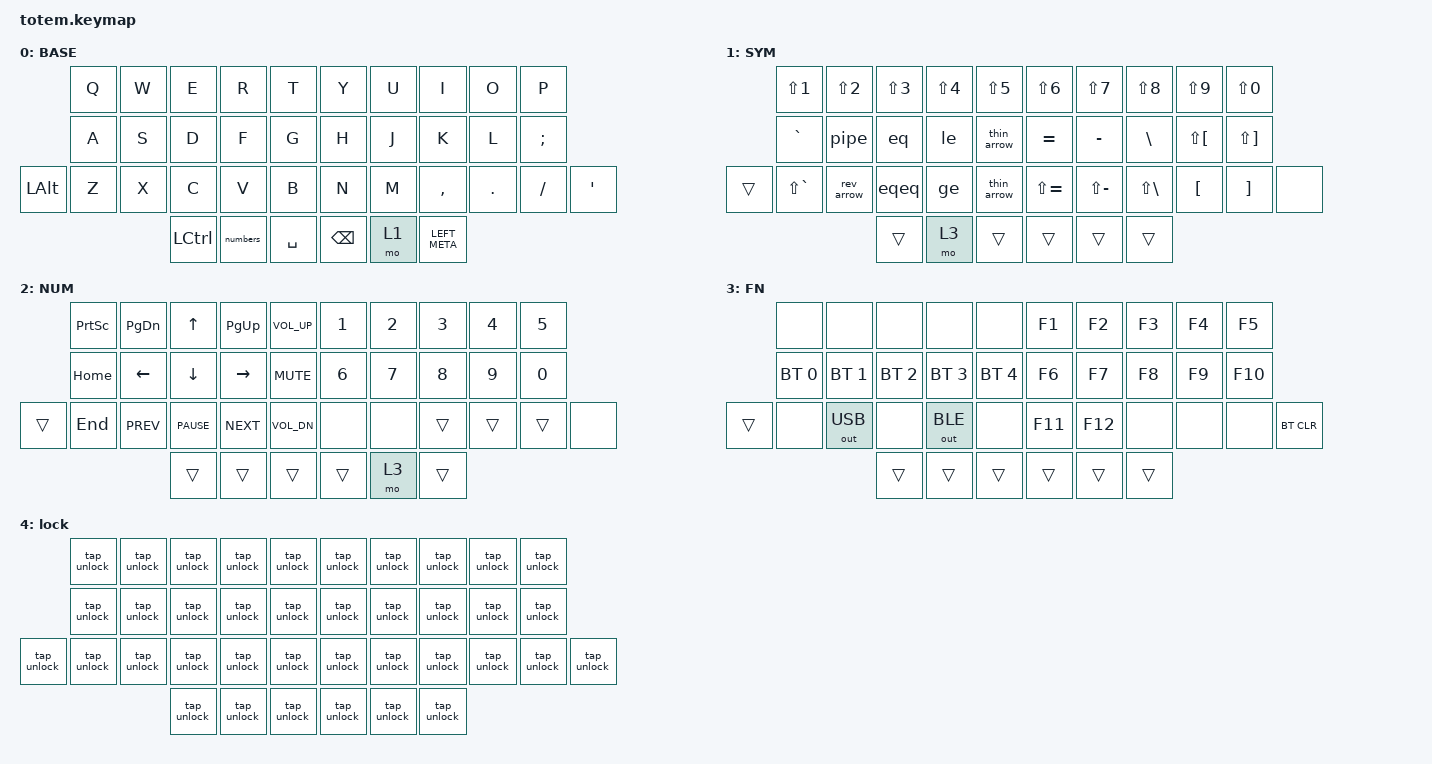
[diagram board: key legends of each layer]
//
//                                                        ▀▀▀▀▀     ▀▀▀▀▀          ▀▀█▀▀
//                                                        ▄▀▀▀▄  ▄  ▄▀▀▀▄  ▄  ▄▀▀▀▄  █  ▄▀▀▀▄
//                                                        █   █  █  █   █  █  █   █  █  █   █
//                                                         ▀▀▀   █   ▀▀▀   █   ▀▀▀   ▀   ▀▀▀
//                                                               █      ▄▄▄█▄▄▄    █   █  
//                                                               ▀      █  █  █     █▄█
//                                                             ▀▀▀▀▀    █  █  █      ▀
//                                                                      ▀  ▀  ▀
//
// ▄▄▄▄▄▄▄▄▄▄▄▄▄▄▄▄▄▄▄▄▄▄▄▄▄▄▄▄▄▄▄▄▄▄▄▄▄▄▄▄▄▄▄▄▄▄▄▄▄▄▄▄▄▄▄▄▄▄▄▄▄▄▄▄▄▄▄▄▄▄▄▄▄▄▄▄▄▄▄▄▄▄▄▄▄▄▄▄▄▄▄▄▄▄▄▄▄▄▄▄▄▄▄▄▄▄▄▄▄▄▄▄▄▄▄▄▄▄▄▄▄▄▄▄▄▄▄▄▄▄▄▄▄▄▄▄▄▄▄▄▄▄▄▄▄▄▄▄▄

#include <behaviors.dtsi>
#include <dt-bindings/zmk/bt.h>
#include <dt-bindings/zmk/keys.h>
#include <dt-bindings/zmk/outputs.h>

#define BASE 0
#define NAV  1
#define SYM  2
#define ADJ  3
#define TVP1 4
#define TVP2 5

&mt {
};

/ {
    combos {
        compatible = "zmk,combos";

        ret {
            bindings = <&kp ENTER>;
            key-positions = <16 17 18>;
            layers = <0 1 2 3>;
        };

        tab {
            bindings = <&kp TAB>;
            key-positions = <11 12 13>;
            layers = <0 1 2 3>;
        };

        shift_combo_left {
            bindings = <&kp LEFT_SHIFT>;
            key-positions = <13 12>;
            layers = <0 1 2 3>;
        };

        shift_combo_right {
            bindings = <&kp LEFT_SHIFT>;
            key-positions = <16 17>;
            layers = <0 1 2 3>;
        };

        dual_shift {
            bindings = <&caps>;
            key-positions = <12 13 16 17>;
            layers = <0 1 2 3>;
        };

        altgr {
            bindings = <&kp RIGHT_ALT>;
            key-positions = <32 37>;
        };

        left_tab {
            bindings = <&kp LS(TAB)>;
            key-positions = <11 12>;
        };

        esc {
            bindings = <&key_lock 4 ESCAPE>;
            key-positions = <17 18>;
        };

        oe {
            bindings = <&kp RA(O)>;
            key-positions = <8 35>;
            layers = <0>;
        };

        ae {
            bindings = <&kp RA(SINGLE_QUOTE)>;
            key-positions = <31 35>;
            layers = <0>;
        };

        aa {
            bindings = <&kp RA(A)>;
            key-positions = <10 35>;
            layers = <0>;
        };
    };

    behaviors {
        mt_thumb: mt_thumb {
            compatible = "zmk,behavior-hold-tap";
            label = "MT_THUMB";
            bindings = <&kp>, <&kp>;

            #binding-cells = <2>;
            flavor = "balanced";
            tapping-term-ms = <250>;
            quick-tap-ms = <220>;
            require-prior-idle-ms = <0>;
        };

        mt_nav: mt_nav {
            compatible = "zmk,behavior-hold-tap";
            label = "MT_NAV";
            bindings = <&kp>, <&kp>;

            #binding-cells = <2>;
            tapping-term-ms = <180>;
            flavor = "balanced";
            quick-tap-ms = <100>;
        };

        numbers: numbers {
            compatible = "zmk,behavior-tap-dance";
            label = "NUMBERS";
            #binding-cells = <0>;
            bindings = <&mo 2>, <&mo 2>, <&sl 2>;
        };

        caps: caps {
            compatible = "zmk,behavior-tap-dance";
            label = "CAPS";
            #binding-cells = <0>;
            bindings = <&caps_word>, <&kp CAPSLOCK>;
        };

        key_lock: key_lock {
            compatible = "zmk,behavior-hold-tap";
            label = "KEY_LOCK";
            bindings = <&tog>, <&kp>;

            #binding-cells = <2>;
            tapping-term-ms = <1500>;
        };

        tap_unlock: tap_unlock {
            compatible = "zmk,behavior-tap-dance";
            label = "TAP_UNLOCK";
            #binding-cells = <0>;
            bindings = <&none>, <&none>, <&tog 4>;
        };
    };

    macros {
        pipe: pipe {
            compatible = "zmk,behavior-macro";
            #binding-cells = <0>;
            bindings = <&kp PIPE &kp GT>;
            label = "PIPE";
        };

        thin_arrow: thin_arrow {
            compatible = "zmk,behavior-macro";
            #binding-cells = <0>;
            bindings = <&kp MINUS &kp GT>;
            label = "THIN_ARROW";
        };

        thick_arrow: thick_arrow {
            compatible = "zmk,behavior-macro";
            #binding-cells = <0>;
            bindings = <&kp EQUAL &kp GT>;
            label = "THICK_ARROW";
        };

        eq: eq {
            compatible = "zmk,behavior-macro";
            #binding-cells = <0>;
            bindings = <&kp EQUAL &kp EQUAL>;
            label = "EQ";
        };

        eqeq: eqeq {
            compatible = "zmk,behavior-macro";
            #binding-cells = <0>;
            bindings = <&kp EQUAL &kp EQUAL &kp EQUAL>;
            label = "EQEQ";
        };

        le: le {
            compatible = "zmk,behavior-macro";
            #binding-cells = <0>;
            bindings = <&kp LT &kp EQUAL>;
            label = "LE";
        };

        ge: ge {
            compatible = "zmk,behavior-macro";
            #binding-cells = <0>;
            bindings = <&kp GT &kp EQUAL>;
            label = "GE";
        };

        rev_arrow: rev_arrow {
            compatible = "zmk,behavior-macro";
            #binding-cells = <0>;
            bindings = <&kp LT &kp MINUS>;
            label = "REV_ARROW";
        };
    };

    keymap {
        compatible = "zmk,keymap";

        base {
            label = "BASE";
            bindings = <
              &kp Q  &kp W  &kp E             &kp R     &kp T        &kp Y          &kp U  &kp I          &kp O    &kp P
              &kp A  &kp S  &kp D             &kp F     &kp G        &kp H          &kp J  &kp K          &kp L    &kp SEMI
&kp LEFT_ALT  &kp Z  &kp X  &kp C             &kp V     &kp B        &kp N          &kp M  &kp COMMA      &kp DOT  &kp FSLH  &kp SINGLE_QUOTE
                            &kp LEFT_CONTROL  &numbers  &kp SPACE    &kp BACKSPACE  &mo 1  &kp LEFT_META
            >;
        };

        symbols {
            label = "SYM";
            bindings = <
        &kp LS(NUMBER_1)  &kp LS(NUMBER_2)  &kp LS(NUMBER_3)  &kp LS(NUMBER_4)  &kp LS(NUMBER_5)    &kp LS(NUMBER_6)  &kp LS(N7)     &kp LS(NUMBER_8)   &kp LS(NUMBER_9)      &kp LS(NUMBER_0)
        &kp GRAVE         &pipe             &eq               &le               &thin_arrow         &kp EQUAL         &kp MINUS      &kp BACKSLASH      &kp LS(LEFT_BRACKET)  &kp LS(RIGHT_BRACKET)
&trans  &kp LS(GRAVE)     &rev_arrow        &eqeq             &ge               &thin_arrow         &kp LS(EQUAL)     &kp LS(MINUS)  &kp LS(BACKSLASH)  &kp LEFT_BRACKET      &kp RIGHT_BRACKET      &none
                                            &trans            &mo 3             &trans              &trans            &trans         &trans
            >;
        };

        num_nav {
            label = "NUM";
            bindings = <
        &kp PRINTSCREEN  &kp PAGE_DOWN  &kp UP       &kp PAGE_UP  &kp C_VOL_UP    &kp NUMBER_1  &kp NUMBER_2  &kp NUMBER_3  &kp NUMBER_4  &kp N5
        &kp HOME         &kp LEFT       &kp DOWN     &kp RIGHT    &kp C_MUTE      &kp NUMBER_6  &kp N7        &kp N8        &kp N9        &kp N0
&trans  &kp END          &kp C_PREV     &kp C_PAUSE  &kp C_NEXT   &kp C_VOL_DN    &none         &none         &trans        &trans        &trans  &none
                                        &trans       &trans       &trans          &trans        &mo 3         &trans
            >;
        };

        fn_bt {
            label = "FN";
            bindings = <
        &none         &none         &none         &none         &none           &kp F1   &kp F2   &kp F3  &kp F4  &kp F5
        &bt BT_SEL 0  &bt BT_SEL 1  &bt BT_SEL 2  &bt BT_SEL 3  &bt BT_SEL 4    &kp F6   &kp F7   &kp F8  &kp F9  &kp F10
&trans  &none         &out OUT_USB  &none         &out OUT_BLE  &none           &kp F11  &kp F12  &none   &none   &none    &bt BT_CLR
                                    &trans        &trans        &trans          &trans   &trans   &trans
            >;
        };

        lock {
            bindings = <
             &tap_unlock  &tap_unlock  &tap_unlock  &tap_unlock  &tap_unlock    &tap_unlock  &tap_unlock  &tap_unlock  &tap_unlock  &tap_unlock
             &tap_unlock  &tap_unlock  &tap_unlock  &tap_unlock  &tap_unlock    &tap_unlock  &tap_unlock  &tap_unlock  &tap_unlock  &tap_unlock
&tap_unlock  &tap_unlock  &tap_unlock  &tap_unlock  &tap_unlock  &tap_unlock    &tap_unlock  &tap_unlock  &tap_unlock  &tap_unlock  &tap_unlock  &tap_unlock
                                       &tap_unlock  &tap_unlock  &tap_unlock    &tap_unlock  &tap_unlock  &tap_unlock
            >;
        };
    };
};
